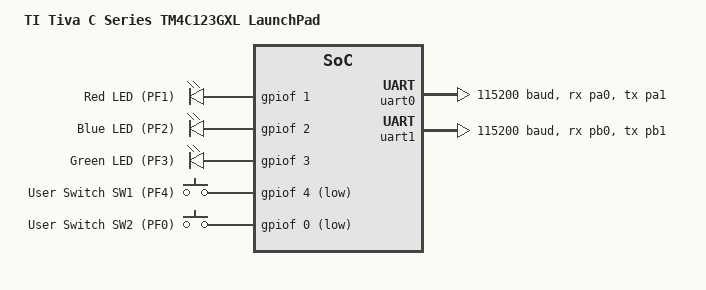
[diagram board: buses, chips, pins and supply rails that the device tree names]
/*
 * Copyright (c) 2024, Your Name
 *
 * SPDX-License-Identifier: Apache-2.0
 */

/dts-v1/;

#include <ti/tm4c123gh6pm.dtsi>
#include <dt-bindings/pinctrl/tiva-c-pinctrl.h>

/*
 * Pin configuration nodes for UART0 and UART1.
 * Use TIVA_C_PINMUX(port, pin, mux, type) macro.
 */
&pinctrl {
	uart0_rx_pa0: uart0_rx_pa0 {
		pinmux = <TIVA_C_PINMUX(TIVA_C_PORT_A, 0, 1, TIVA_C_TYPE_UART)>;
	};
	uart0_tx_pa1: uart0_tx_pa1 {
		pinmux = <TIVA_C_PINMUX(TIVA_C_PORT_A, 1, 1, TIVA_C_TYPE_UART)>;
	};
	uart1_rx_pb0: uart1_rx_pb0 {
		pinmux = <TIVA_C_PINMUX(TIVA_C_PORT_B, 0, 1, TIVA_C_TYPE_UART)>;
	};
	uart1_tx_pb1: uart1_tx_pb1 {
		pinmux = <TIVA_C_PINMUX(TIVA_C_PORT_B, 1, 1, TIVA_C_TYPE_UART)>;
	};
};

/ {
	model = "TI Tiva C Series TM4C123GXL LaunchPad";
	compatible = "ti,tm4c123gxl";

	chosen {
		zephyr,sram = &sram0;
		zephyr,flash = &flash0;
		zephyr,console = &uart0;
		zephyr,shell-uart = &uart0;
	};

	leds {
		compatible = "gpio-leds";

		/* RGB LED on TM4C123GXL LaunchPad */
		led_red: led_0 {
			gpios = <&gpiof 1 GPIO_ACTIVE_HIGH>;
			label = "Red LED (PF1)";
		};
		led_blue: led_1 {
			gpios = <&gpiof 2 GPIO_ACTIVE_HIGH>;
			label = "Blue LED (PF2)";
		};
		led_green: led_2 {
			gpios = <&gpiof 3 GPIO_ACTIVE_HIGH>;
			label = "Green LED (PF3)";
		};
	};

	gpio_keys {
		compatible = "gpio-keys";

		user_switch_1: button_0 {
			gpios = <&gpiof 4 (GPIO_PULL_UP | GPIO_ACTIVE_LOW)>;
			label = "User Switch SW1 (PF4)";
		};
		user_switch_2: button_1 {
			gpios = <&gpiof 0 (GPIO_PULL_UP | GPIO_ACTIVE_LOW)>;
			label = "User Switch SW2 (PF0)";
		};
	};

	aliases {
		led0 = &led_red;
		led1 = &led_blue;
		led2 = &led_green;
		sw0 = &user_switch_1;
		sw1 = &user_switch_2;
	};
};

/* UART0 is connected to the on-board ICDI virtual COM port (PA0/PA1) */
&uart0 {
	status = "okay";
	current-speed = <115200>;
	pinctrl-0 = <&uart0_rx_pa0 &uart0_tx_pa1>;
	pinctrl-names = "default";
};

/* UART1 on header pins PB0/PB1 */
&uart1 {
	status = "okay";
	current-speed = <115200>;
	pinctrl-0 = <&uart1_rx_pb0 &uart1_tx_pb1>;
	pinctrl-names = "default";
};

